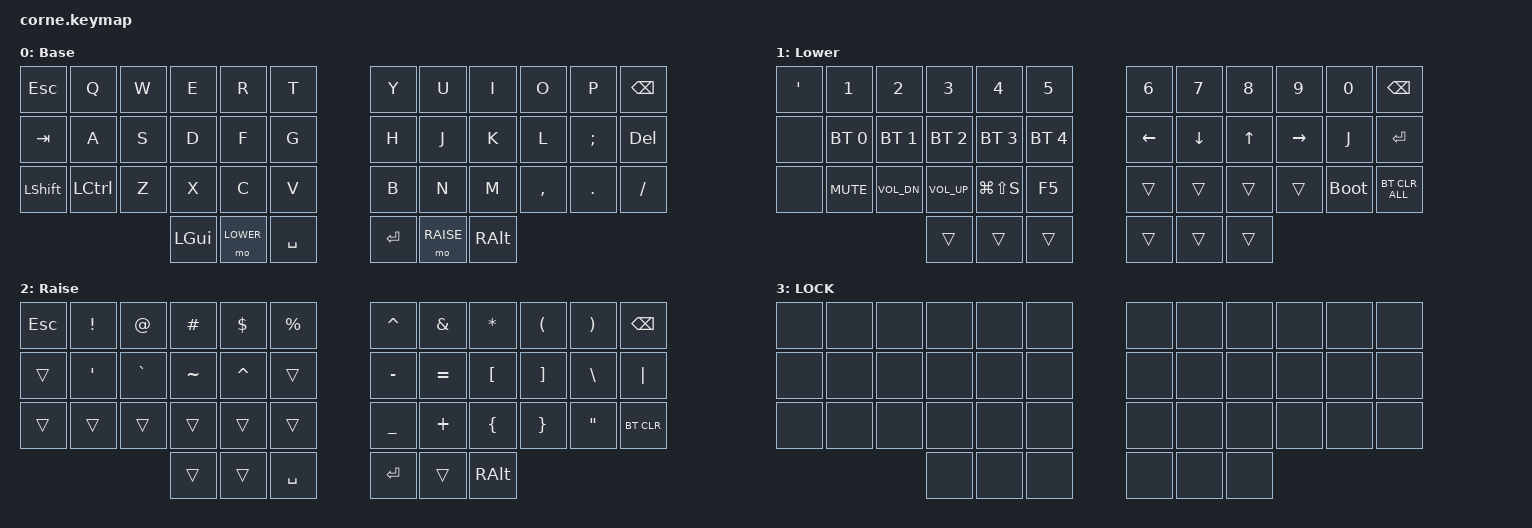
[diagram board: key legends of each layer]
/*
 * Custom keymap for a Corne/Crkbd with a Tenstar nRF52840 controller
 * compatible with nice!nano v2.
 */

#include <behaviors.dtsi>
#include <dt-bindings/zmk/bt.h>
#include <dt-bindings/zmk/keys.h>

#define DEFAULT 0
#define LOWER   1
#define RAISE   2
#define LOCK    3

/ {
    combos {
        compatible = "zmk,combos";

        combo_lock {
            timeout-ms = <100>;
            key-positions = <37 40>;
            bindings = <&tog LOCK>;
        };
    };

    keymap {
        compatible = "zmk,keymap";

        default_layer {
            display-name = "Base";
            bindings = <
&kp ESC    &kp Q     &kp W     &kp E      &kp R      &kp T        &kp Y    &kp U     &kp I      &kp O     &kp P     &kp BSPC
&kp TAB    &kp A     &kp S     &kp D      &kp F      &kp G        &kp H    &kp J     &kp K      &kp L     &kp SEMI  &kp DEL
&kp LSHFT  &kp LCTRL &kp Z     &kp X      &kp C      &kp  V       &kp B    &kp N     &kp M      &kp COMMA &kp DOT   &kp FSLH
                              &kp LGUI   &mo LOWER  &kp SPACE    &kp RET &mo RAISE &kp RALT
            >;
        };

        lower_layer {
            display-name = "Lower";
            bindings = <
&kp SQT    &kp N1        &kp N2        &kp N3        &kp N4        &kp N5          &kp N6    &kp N7    &kp N8    &kp N9     &kp N0       &kp BSPC
&none      &bt BT_SEL 0  &bt BT_SEL 1  &bt BT_SEL 2  &bt BT_SEL 3  &bt BT_SEL 4    &kp LEFT  &kp DOWN  &kp UP    &kp RIGHT  &kp J        &kp RET
&none      &kp K_MUTE    &kp C_VOL_DN  &kp C_VOL_UP  &kp LG(LS(S)) &kp F5       &trans    &trans    &trans    &trans     &bootloader  &bt BT_CLR_ALL
                                         &trans   &trans        &trans          &trans    &trans    &trans
            >;
        };

        raise_layer {
            display-name = "Raise";
            bindings = <
&kp ESC    &kp EXCL  &kp AT     &kp HASH  &kp DLLR   &kp PRCNT    &kp CARET  &kp AMPS   &kp ASTRK  &kp LPAR  &kp RPAR  &kp BSPC
&trans     &kp SQT   &kp GRAVE  &kp TILDE &kp CARET  &trans       &kp MINUS  &kp EQUAL  &kp LBKT   &kp RBKT  &kp BSLH  &kp PIPE
&trans     &trans    &trans     &trans    &trans     &trans       &kp UNDER  &kp PLUS   &kp LBRC   &kp RBRC  &kp DQT   &bt BT_CLR
                              &trans      &trans     &kp SPACE    &kp RET    &trans     &kp RALT
            >;
        };

        lock_layer {
            display-name = "LOCK";
            bindings = <
&none  &none  &none  &none  &none  &none    &none  &none  &none  &none  &none  &none
&none  &none  &none  &none  &none  &none    &none  &none  &none  &none  &none  &none
&none  &none  &none  &none  &none  &none    &none  &none  &none  &none  &none  &none
                              &none  &none  &none    &none  &none  &none
            >;
        };
    };
};
